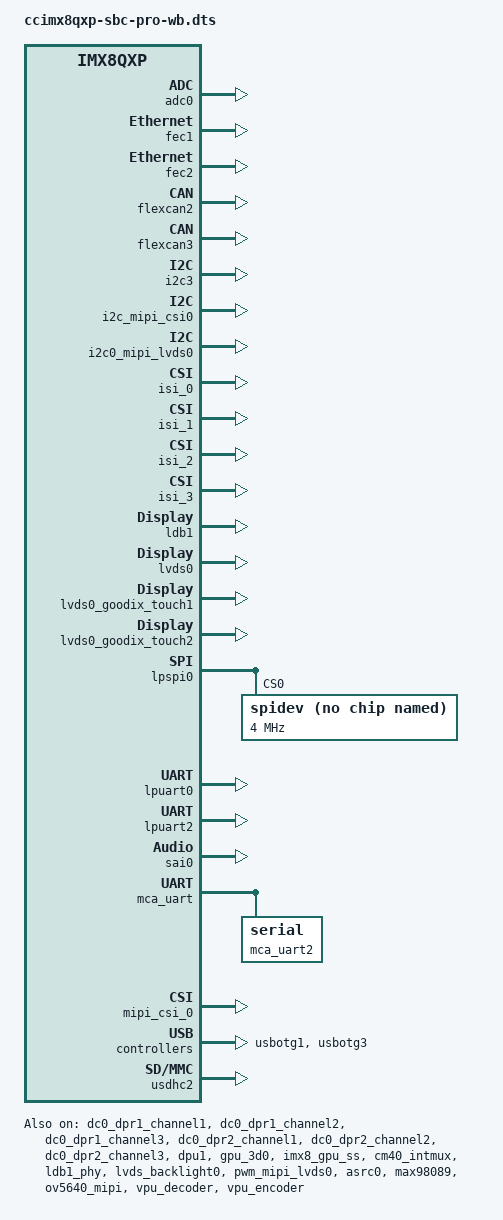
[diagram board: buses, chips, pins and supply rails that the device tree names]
/*
 * Copyright 2018, 2019, Digi International Inc.
 *
 * Permission to use, copy, modify, and/or distribute this software for any
 * purpose with or without fee is hereby granted, provided that the above
 * copyright notice and this permission notice appear in all copies.
 * THE SOFTWARE IS PROVIDED "AS IS" AND THE AUTHOR DISCLAIMS ALL WARRANTIES
 * WITH REGARD TO THIS SOFTWARE INCLUDING ALL IMPLIED WARRANTIES OF
 * MERCHANTABILITY AND FITNESS. IN NO EVENT SHALL THE AUTHOR BE LIABLE FOR
 * ANY SPECIAL, DIRECT, INDIRECT, OR CONSEQUENTIAL DAMAGES OR ANY DAMAGES
 * WHATSOEVER RESULTING FROM LOSS OF USE, DATA OR PROFITS, WHETHER IN AN
 * ACTION OF CONTRACT, NEGLIGENCE OR OTHER TORTIOUS ACTION, ARISING OUT OF
 * OR IN CONNECTION WITH THE USE OR PERFORMANCE OF THIS SOFTWARE.
 */

/dts-v1/;

/* i.MX8QXP CPU */
#include "../freescale/imx8qxp.dtsi"
/* Digi ConnectCore 8X (WiFi/bluetooth variant) */
#include "ccimx8x-wb.dtsi"
/* Digi ConnectCore 8X SBC Pro */
#include "ccimx8x-sbc-pro.dtsi"

/*
 * i.MX8X ADC channels on Expansion connector:
 *  - ADC_IN0 (channel 0)
 *  - ADC_IN1 (channel 1)
 *  - ADC_IN2 (channel 2)
 *  - ADC_IN3 (channel 3)
 *  - ADC_IN4 (channel 4)
 *  - ADC_IN5 (channel 5)
 * Include in digi,adc-ch-list the ADC channels (from 0 to 5) that you want to
 * enable. Note that the iomux has to be configured accordingly in pinctrl_adc0
 * to configure the pads for ADC operation. Make sure to remove them from
 * pinctrl_expansion where they may already be configured with another use.
 */
&adc0 {
	pinctrl-names = "default";
	pinctrl-0 = <&pinctrl_adc0>;
	digi,adc-ch-list = <0>;
	status = "okay";
};

&dc0_dpr1_channel1 {
	status = "okay";
};

&dc0_dpr1_channel2 {
	status = "okay";
};

&dc0_dpr1_channel3 {
	status = "okay";
};

&dc0_dpr2_channel1 {
	status = "okay";
};

&dc0_dpr2_channel2 {
	status = "okay";
};

&dc0_dpr2_channel3 {
	status = "okay";
};

&dpu1 {
	status = "okay";
};

&fec1 {
	status = "okay";
};

&fec2 {
	status = "okay";
};

/*
 * CAN0
 * Conflicts with LPUART0 RTS/CTS lines.
 * Before enabling the port you need to configure
 * lpuart0 node as 2 wires.
 */
&flexcan1 {
	status = "disabled";
};

/* CAN1 on expansion header */
&flexcan2 {
	status = "okay";
};

/*
 * CAN2 on expansion header.
 * Conflicts with LPUART3 RX/TX lines.
 */
&flexcan3 {
	status = "okay";
};

&gpu_3d0 {
	status = "okay";
};

/*
 * I2C3 connected to Audio codec and USB 3.0 PD PHY.
 * Also available on:
 * - Expansion header
 * - PCIe connector
 * - Parallel Camera connector
 */
&i2c3 {
	status = "okay";
};

/* MIPI-CSI0 I2C available on MIPI Camera connector */
&i2c_mipi_csi0 {
	status = "okay";
};

/* MIPI-DSI0 I2C available on LVDS0 connector */
&i2c0_mipi_lvds0 {
	status = "okay";
};

&imx8_gpu_ss {
	status = "okay";
};

&cm40_intmux {
	status = "okay";
};

&isi_0 {
	status = "okay";
};

&isi_1 {
	status = "okay";
};

&isi_2 {
	status = "okay";
};

&isi_3 {
	status = "okay";
};

&ldb1 {
	status = "okay";
};

&ldb1_phy {
	status = "okay";
};

&lvds0 {
	status = "okay";
};

&lvds_backlight0 {
	status = "okay";
};

&pwm_mipi_lvds0 {
	status = "okay";
};

/*
 * The max98089 sound codec uses the same I2C address than the fusion touch
 * controller, so when unconmmenting this node you need to also comment the
 * max98089 node.
 */
//&fusion_touch {
//	status = "okay";
//};


/*
 * On the CC8X SBC, an inconsistent reset sequence makes
 * the Goodix display's touch controller respond to two I2C
 * addresses: 0x14 and 0x5D. To make sure the touchscreen
 * works every time, the touch controller's description must
 * be duplicated for both addresses.
 */
&lvds0_goodix_touch1 {
	status = "okay";
};

&lvds0_goodix_touch2 {
	status = "okay";
};

/*
 * Uncomment to enable display support on the 2nd video interface.
 */
/* MIPI-DSI1 I2C available on LVDS1 connector */
//&i2c0_mipi_lvds1 {
//	status = "okay";
//};
//
//&ldb2 {
//	status = "okay";
//};
//
//&ldb2_phy {
//	status = "okay";
//};
//
//&lvds1 {
//	status = "okay";
//};
//
//&lvds_backlight1 {
//	status = "okay";
//};
//
//&pwm_mipi_lvds1 {
//	status = "okay";
//};
//
//&lvds1_goodix_touch1 {
//	status = "okay";
//	/*
//	 * Uncomment if LVDS0 is also enabled so that the LVDS1 touch works in
//	 * extended desktop configuration
//	 */
//	extends-desktop = <&lvds0>;
//};
//
//&lvds1_goodix_touch2 {
//	status = "okay";
//	/*
//	 * Uncomment if LVDS0 is also enabled so that the LVDS1 touch works in
//	 * extended desktop configuration
//	 */
//	extends-desktop = <&lvds0>;
//};

/* LPSPI0 on expansion header */
&lpspi0 {
	status = "okay";

	/*
	 * Add your slave devices here. Next is an example of spidev.
	 * Expect a harmless kernel warning if you enable spidev as slave.
	 */
	spidev@0 {
		compatible = "spidev";
		reg = <0>;
		spi-max-frequency = <4000000>;
	};
};

/* LPUART0 on expansion header */
&lpuart0 {
	/* RTS/CTS lines multiplexed with CAN0 */
	pinctrl-0 = <&pinctrl_lpuart0_4wires>;
	/* Comment the line above and uncomment the next one to use 2-wires */
	//pinctrl-0 = <&pinctrl_lpuart0_2wires>;
	status = "okay";
};

/* Console */
&lpuart2 {
	status = "okay";
};

/*
 * LPUART3 on expansion header.
 * Conflicts with CAN2.
 */
&lpuart3 {
	status = "disabled";
};

/* PCIE (Wireless) and PCIe (Mini Card) */
&pcieb {
	compatible = "fsl,imx8qxp-pcie", "snps,dw-pcie";
	pinctrl-names = "default", "sleep";
	pinctrl-0 = <&pinctrl_reg_3v3_pcie>, <&pinctrl_pcieb>, <&pinctrl_pcieb_mini_card>;
	pinctrl-1 = <&pinctrl_reg_3v3_pcie_sleep>;
};

/* Audio support */
&asrc0 {
	status = "okay";
};

&sai0 {
	status = "okay";
};

&max98089 {
	status = "okay";
};

&sound_max98089 {
	status = "okay";
};

/* PWM signal on Expansion connector: SPI0_CS1 (conflicts with SPI0 CS1) */
//&pwm_adma_lcdif {
//	status = "okay";
//};

/*
 * Uncomment to enable MCA ADC channels on Expansion connector:
 *  - MCA_IO7 (channel 7)
 *  - MCA_IO8 (channel 8)
 *  - MCA_IO14 (channel 14)
 * Edit adc-ch-list to include the ADC channels that you want to enable.
 */
// &mca_adc {
//	digi,adc-ch-list = <7 8 14>;
//	digi,adc-vref = <3000000>;
// };

/*
 * Uncomment to Enable Tamper detection. There are 2 digital (0 and 1) and 2
 * analog (2 and 3) tamper interfaces.
 */
//&mca_tamper {
//	digi,tamper-if-list = <0 1 2 3>;
//};

&mca_uart {
	status = "okay";

	/* Uncomment to enable MCA UART0. Assign the IO pins (see bindings) */
//	mca_uart0: serial@0x900 {
//		iopins-names = "rx", "tx";
//		iopins = <9 10>;
//	};

	/* Uncomment to enable MCA UART1. Assign the IO pins (see bindings) */
//	mca_uart1: serial@0x920 {
//		iopins-names = "rx", "tx";
//		iopins = <11 16>;
//	};

	/* UART connected to XBee socket */
	mca_uart2: serial@0x940 {
		iopins-names = "rx", "tx", "cts", "rts";
		iopins = <2 1 3 4>;
	};
};

/*
 * Enable only if the parallel camera is physically connected.
 * If not, the MIPI camera may not work.
 * Similarly, if the MIPI camera is not physically connected you need to
 * disable the MIPI (mipi_csi_0) so that the parallel camera works.
 */
//&parallel_csi {
//       status = "okay";
//};

//&ov5640 {
//	status = "okay";
//};

/* MIPI camera */
&mipi_csi_0 {
	status = "okay";
};

&ov5640_mipi {
	status = "okay";
};

/* USB_OTG1 connected to the usb hub */
&usbotg1 {
	status = "okay";
};

/* USB_OTG2/USB_SS3 */
&usbotg3 {
	status = "okay";
};

/* Micro SD card */
&usdhc2 {
	status = "okay";
};

&vpu_decoder {
	status = "okay";
};

&vpu_encoder {
	status = "okay";
};

/* IOMUX */
&iomuxc {
	pinctrl-names = "default";
	pinctrl-0 = <&pinctrl_expansion>;

	/* Expansion Connector */
	pinctrl_expansion: expansiongrp {
		fsl,pins = <
			/*
			 * Comment the pads you wish to use on any
			 * device driver, and uncomment the ones you
			 * want to use as GPIO (requires disabling the
			 * driver that manages them).
			 */
			/* GPIO4_20 */
			IMX8QXP_USDHC1_VSELECT_LSIO_GPIO4_IO20		0x06000020
			/* GPIO4_21 */
			IMX8QXP_USDHC1_WP_LSIO_GPIO4_IO21			0x06000020
			/* SPI0_IRQ_N */
			IMX8QXP_SPI2_SDO_LSIO_GPIO1_IO01			0x06000020
			/* EXP_I2C_IRQ_N */
			IMX8QXP_QSPI0A_SS1_B_LSIO_GPIO3_IO15		0x06000020
			/* EXP_I2C_GPIO */
			IMX8QXP_QSPI0A_SS0_B_LSIO_GPIO3_IO14		0x06000020
			/* GPIO4_19 */
			IMX8QXP_USDHC1_RESET_B_LSIO_GPIO4_IO19		0x06000020
			/* GPIO0_12 */
			IMX8QXP_SPDIF0_EXT_CLK_LSIO_GPIO0_IO12		0x06000020
			/* GPIO5_09 */
			IMX8QXP_ENET0_REFCLK_125M_25M_LSIO_GPIO5_IO09	0x06000020

			/* Remove the pads you wish to use as ADCs */
			/* ADC_IN0 */
	//		IMX8QXP_ADC_IN0_LSIO_GPIO1_IO10			0x06000020
			/* ADC_IN1 */
			IMX8QXP_ADC_IN1_LSIO_GPIO1_IO09			0x06000020
			/* M40_UART_RX */
			IMX8QXP_ADC_IN2_LSIO_GPIO1_IO12			0x06000020
			/* M40_UART_TX */
			IMX8QXP_ADC_IN3_LSIO_GPIO1_IO11			0x06000020
			/* ADC_IN4 */
			IMX8QXP_ADC_IN4_LSIO_GPIO1_IO14			0x06000020
			/* ADC_IN5 */
			IMX8QXP_ADC_IN5_LSIO_GPIO1_IO13			0x06000020
		>;
	};

	/* Uncomment the pads you wish to use as ADCs */
	pinctrl_adc0: adc0grp {
		fsl,pins = <
			/* ADC_IN0 */
			IMX8QXP_ADC_IN0_ADMA_ADC_IN0		0xc0000060
	//		/* ADC_IN1 */
	//		IMX8QXP_ADC_IN1_ADMA_ADC_IN1		0xc0000060
	//		/* M40_UART_RX */
	//		IMX8QXP_ADC_IN2_ADMA_ADC_IN2		0xc0000060
	//		/* M40_UART_TX */
	//		IMX8QXP_ADC_IN3_ADMA_ADC_IN3		0xc0000060
	//		/* ADC_IN4 */
	//		IMX8QXP_ADC_IN4_ADMA_ADC_IN4		0xc0000060
	//		/* ADC_IN5 */
	//		IMX8QXP_ADC_IN5_ADMA_ADC_IN5		0xc0000060
		>;
	};
};
